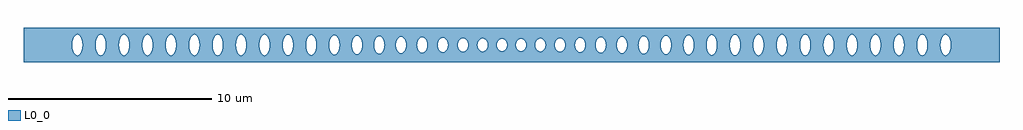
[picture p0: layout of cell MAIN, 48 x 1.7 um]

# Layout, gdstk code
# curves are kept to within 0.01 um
import gdstk
lib = gdstk.Library(unit=1e-6, precision=1e-09)
def P(c, l, *ps):  # polygons
    for p in ps: c.add(gdstk.Polygon(p, *l))
L0_0 = (0, 0)

main = lib.new_cell('MAIN')
P(main, L0_0, [(-21.442,-0.487),(-21.509,-0.413),(-21.564,-0.296),(-21.564,-0.85),(-21.442,-0.85)],
  [(-21.436,0.492),(-21.368,0.52),(-21.289,0.505),(-21.221,0.449),(-21.156,0.337),(-21.156,0.85),(-21.442,0.85)],
  [(-21.156,-0.337),(-21.221,-0.449),(-21.289,-0.505),(-21.368,-0.52),(-21.442,-0.487),(-21.442,-0.85),(-21.156,-0.85)],
  [(24,0.85),(21.564,0.85),(21.564,0.296),(21.609,0.039),(21.602,-0.127),(21.564,-0.296),(21.564,-0.85),(24,-0.85)],
  [(-20.425,0.258),(-20.38,0.375),(-20.312,0.47),(-20.233,0.517),(-20.16,0.514),(-20.16,0.85),(-20.426,0.85)],
  [(-20.16,-0.514),(-20.233,-0.517),(-20.312,-0.47),(-20.38,-0.375),(-20.426,-0.253),(-20.426,-0.85),(-20.16,-0.85)],
  [(-19.948,0.85),(-20.16,0.85),(-20.16,0.514),(-20.09,0.47),(-20.027,0.384),(-19.979,0.264),(-19.948,0.096)],
  [(-19.948,-0.096),(-19.979,-0.264),(-20.027,-0.384),(-20.09,-0.47),(-20.16,-0.514),(-20.16,-0.85),(-19.948,-0.85)],
  [(-20.459,0.006),(-20.426,0.253),(-20.426,0.85),(-21.156,0.85),(-21.156,0.337),(-21.114,0.201),(-21.095,0)],
  [(-19.178,0.452),(-19.107,0.508),(-19.034,0.52),(-18.954,0.483),(-18.888,0.405),(-18.888,0.85),(-19.184,0.85)],
  [(-18.888,-0.405),(-18.954,-0.483),(-19.034,-0.52),(-19.107,-0.508),(-19.184,-0.445),(-19.184,-0.85),(-18.888,-0.85)],
  [(-19.308,0.006),(-19.271,0.269),(-19.184,0.445),(-19.184,0.85),(-19.948,0.85),(-19.944,0)],
  [(-18.143,0.171),(-18.106,0.312),(-18.054,0.417),(-17.987,0.49),(-17.906,0.52),(-17.906,0.85),(-18.144,0.85)],
  [(-17.906,-0.52),(-17.987,-0.49),(-18.054,-0.417),(-18.106,-0.312),(-18.144,-0.165),(-18.144,-0.85),(-17.906,-0.85)],
  [(-17.9,0.521),(-17.827,0.5),(-17.75,0.424),(-17.697,0.322),(-17.66,0.189),(-17.66,0.85),(-17.906,0.85)],
  [(-17.66,-0.189),(-17.697,-0.322),(-17.758,-0.435),(-17.827,-0.5),(-17.906,-0.52),(-17.906,-0.85),(-17.66,-0.85)],
  [(-18.157,0.006),(-18.144,0.165),(-18.144,0.85),(-18.888,0.85),(-18.888,0.405),(-18.819,0.23),(-18.793,0)],
  [(-16.92,0.388),(-16.86,0.47),(-16.781,0.517),(-16.701,0.512),(-16.629,0.461),(-16.629,0.85),(-16.923,0.85)],
  [(-16.629,-0.461),(-16.701,-0.512),(-16.781,-0.517),(-16.86,-0.47),(-16.923,-0.384),(-16.923,-0.85),(-16.629,-0.85)],
  [(-17.006,0.006),(-16.988,0.195),(-16.923,0.384),(-16.923,0.85),(-17.66,0.85),(-17.66,0.189),(-17.642,0)],
  [(-15.853,0.071),(-15.836,0.201),(-15.788,0.352),(-15.729,0.449),(-15.655,0.508),(-15.655,0.85),(-15.853,0.85)],
  [(-15.655,-0.508),(-15.729,-0.449),(-15.788,-0.352),(-15.836,-0.201),(-15.853,-0.064),(-15.853,-0.85),(-15.655,-0.85)],
  [(-15.649,0.51),(-15.566,0.517),(-15.496,0.478),(-15.426,0.388),(-15.381,0.28),(-15.381,0.85),(-15.655,0.85)],
  [(-15.381,-0.28),(-15.436,-0.405),(-15.502,-0.483),(-15.582,-0.52),(-15.655,-0.508),(-15.655,-0.85),(-15.381,-0.85)],
  [(-15.855,0.006),(-15.853,0.85),(-16.629,0.85),(-16.629,0.461),(-16.57,0.375),(-16.53,0.275),(-16.498,0.121),(-16.491,0)],
  [(-14.651,0.317),(-14.602,0.417),(-14.523,0.498),(-14.447,0.521),(-14.372,0.498),(-14.372,0.85),(-14.653,0.85)],
  [(-14.372,-0.498),(-14.447,-0.521),(-14.523,-0.498),(-14.602,-0.417),(-14.653,-0.312),(-14.653,-0.85),(-14.372,-0.85)],
  [(-14.19,0.85),(-14.372,0.85),(-14.372,0.498),(-14.29,0.413),(-14.237,0.302),(-14.207,0.189),(-14.19,0.026)],
  [(-14.19,-0.026),(-14.207,-0.189),(-14.237,-0.302),(-14.29,-0.413),(-14.372,-0.498),(-14.372,-0.85),(-14.19,-0.85)],
  [(-14.705,0.006),(-14.685,0.201),(-14.653,0.312),(-14.653,0.85),(-15.381,0.85),(-15.381,0.28),(-15.349,0.134),(-15.341,0)],
  [(-13.393,0.483),(-13.312,0.52),(-13.233,0.505),(-13.16,0.442),(-13.109,0.356),(-13.109,0.85),(-13.399,0.85)],
  [(-13.109,-0.356),(-13.171,-0.455),(-13.249,-0.512),(-13.328,-0.517),(-13.399,-0.478),(-13.399,-0.85),(-13.109,-0.85)],
  [(-13.554,0.006),(-13.543,0.152),(-13.512,0.286),(-13.461,0.401),(-13.399,0.478),(-13.399,0.85),(-14.19,0.85),(-14.19,0)],
  [(-12.377,0.23),(-12.329,0.366),(-12.271,0.455),(-12.193,0.512),(-12.12,0.518),(-12.12,0.85),(-12.378,0.85)],
  [(-12.12,-0.518),(-12.193,-0.512),(-12.271,-0.455),(-12.329,-0.366),(-12.378,-0.224),(-12.378,-0.85),(-12.12,-0.85)],
  [(-11.896,0.85),(-12.12,0.85),(-12.12,0.518),(-12.043,0.478),(-11.981,0.401),(-11.93,0.286),(-11.896,0.127)],
  [(-11.896,-0.127),(-11.93,-0.286),(-11.981,-0.401),(-12.043,-0.478),(-12.12,-0.518),(-12.12,-0.85),(-11.896,-0.85)],
  [(-12.403,0.006),(-12.378,0.224),(-12.378,0.85),(-13.109,0.85),(-13.109,0.356),(-13.055,0.183),(-13.039,0)],
  [(-11.135,0.433),(-11.06,0.5),(-10.98,0.516),(-10.909,0.487),(-10.844,0.418),(-10.844,0.85),(-11.141,0.85)],
  [(-10.844,-0.418),(-10.909,-0.487),(-10.98,-0.516),(-11.069,-0.495),(-11.141,-0.426),(-11.141,-0.85),(-10.844,-0.85)],
  [(-11.252,0.006),(-11.22,0.252),(-11.141,0.426),(-11.141,0.85),(-11.896,0.85),(-11.888,0)],
  [(-10.095,0.144),(-10.057,0.297),(-10,0.409),(-9.943,0.47),(-9.861,0.504),(-9.861,0.85),(-10.096,0.85)],
  [(-9.861,-0.504),(-9.943,-0.47),(-10,-0.409),(-10.057,-0.297),(-10.096,-0.138),(-10.096,-0.85),(-9.861,-0.85)],
  [(-9.855,0.505),(-9.781,0.488),(-9.705,0.42),(-9.654,0.332),(-9.609,0.186),(-9.609,0.85),(-9.861,0.85)],
  [(-9.609,-0.186),(-9.654,-0.332),(-9.705,-0.42),(-9.781,-0.488),(-9.861,-0.504),(-9.861,-0.85),(-9.609,-0.85)],
  [(-10.106,0.006),(-10.096,0.85),(-10.844,0.85),(-10.844,0.418),(-10.764,0.229),(-10.737,0)],
  [(-8.877,0.376),(-8.81,0.453),(-8.733,0.487),(-8.645,0.471),(-8.576,0.413),(-8.576,0.85),(-8.88,0.85)],
  [(-8.576,-0.413),(-8.645,-0.471),(-8.733,-0.487),(-8.81,-0.453),(-8.88,-0.372),(-8.88,-0.85),(-8.576,-0.85)],
  [(-8.971,0.006),(-8.946,0.211),(-8.88,0.372),(-8.88,0.85),(-9.609,0.85),(-9.609,0.186),(-9.591,0)],
  [(-7.847,0.112),(-7.816,0.246),(-7.758,0.364),(-7.694,0.432),(-7.609,0.466),(-7.609,0.85),(-7.847,0.85)],
  [(-7.609,-0.466),(-7.694,-0.432),(-7.766,-0.352),(-7.816,-0.246),(-7.847,-0.106),(-7.847,-0.85),(-7.609,-0.85)],
  [(-7.603,0.466),(-7.526,0.449),(-7.456,0.391),(-7.392,0.284),(-7.353,0.15),(-7.353,0.85),(-7.609,0.85)],
  [(-7.353,-0.15),(-7.392,-0.284),(-7.456,-0.391),(-7.526,-0.449),(-7.609,-0.466),(-7.609,-0.85),(-7.353,-0.85)],
  [(-7.854,0.003),(-7.847,0.85),(-8.576,0.85),(-8.576,0.413),(-8.521,0.325),(-8.487,0.233),(-8.456,0)],
  [(-6.64,0.374),(-6.561,0.431),(-6.488,0.442),(-6.401,0.407),(-6.329,0.327),(-6.329,0.85),(-6.646,0.85)],
  [(-6.329,-0.327),(-6.401,-0.407),(-6.488,-0.442),(-6.574,-0.425),(-6.646,-0.367),(-6.646,-0.85),(-6.329,-0.85)],
  [(-6.76,0.006),(-6.729,0.211),(-6.646,0.367),(-6.646,0.85),(-7.353,0.85),(-7.353,0.15),(-7.339,0)],
  [(-5.658,0.204),(-5.602,0.315),(-5.526,0.389),(-5.449,0.416),(-5.358,0.398),(-5.358,0.85),(-5.659,0.85)],
  [(-5.358,-0.398),(-5.449,-0.416),(-5.526,-0.389),(-5.602,-0.315),(-5.659,-0.199),(-5.659,-0.85),(-5.358,-0.85)],
  [(-5.691,0.006),(-5.659,0.199),(-5.659,0.85),(-6.329,0.85),(-6.329,0.327),(-6.268,0.184),(-6.245,0)],
  [(-4.647,0.039),(-4.624,0.167),(-4.568,0.284),(-4.495,0.358),(-4.409,0.39),(-4.409,0.85),(-4.648,0.85)],
  [(-4.409,-0.39),(-4.495,-0.358),(-4.568,-0.284),(-4.624,-0.167),(-4.648,-0.033),(-4.648,-0.85),(-4.409,-0.85)],
  [(-4.402,0.39),(-4.308,0.37),(-4.237,0.313),(-4.183,0.23),(-4.14,0.088),(-4.14,0.85),(-4.409,0.85)],
  [(-4.14,-0.088),(-4.183,-0.23),(-4.237,-0.313),(-4.319,-0.375),(-4.409,-0.39),(-4.409,-0.85),(-4.14,-0.85)],
  [(-4.648,0.006),(-4.648,0.85),(-5.358,0.85),(-5.358,0.398),(-5.293,0.35),(-5.226,0.248),(-5.192,0.147),(-5.176,0)],
  [(-3.463,0.345),(-3.389,0.366),(-3.288,0.345),(-3.204,0.273),(-3.148,0.171),(-3.148,0.85),(-3.47,0.85)],
  [(-3.148,-0.171),(-3.204,-0.273),(-3.288,-0.345),(-3.389,-0.366),(-3.47,-0.341),(-3.47,-0.85),(-3.148,-0.85)],
  [(-3.633,0.005),(-3.619,0.122),(-3.59,0.204),(-3.536,0.287),(-3.47,0.341),(-3.47,0.85),(-4.14,0.85),(-4.134,0)],
  [(-2.521,0.293),(-2.435,0.339),(-2.341,0.34),(-2.257,0.299),(-2.181,0.209),(-2.181,0.85),(-2.528,0.85)],
  [(-2.181,-0.209),(-2.257,-0.299),(-2.341,-0.34),(-2.435,-0.339),(-2.528,-0.288),(-2.528,-0.85),(-2.181,-0.85)],
  [(-2.643,0.005),(-2.612,0.166),(-2.528,0.288),(-2.528,0.85),(-3.148,0.85),(-3.148,0.171),(-3.118,0)],
  [(-1.582,0.253),(-1.491,0.315),(-1.399,0.327),(-1.314,0.3),(-1.23,0.223),(-1.23,0.85),(-1.588,0.85)],
  [(-1.23,-0.223),(-1.314,-0.3),(-1.411,-0.328),(-1.514,-0.305),(-1.588,-0.246),(-1.588,-0.85),(-1.23,-0.85)],
  [(-1.676,0.003),(-1.653,0.136),(-1.588,0.246),(-1.588,0.85),(-2.181,0.85),(-2.181,0.209),(-2.14,0.103),(-2.129,0)],
  [(-0.644,0.232),(-0.561,0.296),(-0.453,0.316),(-0.358,0.286),(-0.285,0.222),(-0.285,0.85),(-0.649,0.85)],
  [(-0.285,-0.222),(-0.358,-0.286),(-0.453,-0.316),(-0.561,-0.296),(-0.649,-0.225),(-0.649,-0.85),(-0.285,-0.85)],
  [(-0.726,0.005),(-0.705,0.127),(-0.649,0.225),(-0.649,0.85),(-1.23,0.85),(-1.23,0.223),(-1.18,0.125),(-1.161,0)],
  [(0.288,0.225),(0.358,0.286),(0.453,0.316),(0.561,0.296),(0.649,0.225),(0.649,0.85),(0.285,0.85)],
  [(0.649,-0.225),(0.561,-0.296),(0.453,-0.316),(0.358,-0.286),(0.285,-0.222),(0.285,-0.85),(0.649,-0.85)],
  [(0.212,0.005),(0.231,0.122),(0.285,0.222),(0.285,0.85),(-0.285,0.85),(-0.285,0.222),(-0.228,0.113),(-0.212,0)],
  [(1.231,0.225),(1.312,0.299),(1.409,0.328),(1.512,0.306),(1.584,0.251),(1.584,0.85),(1.229,0.85)],
  [(1.584,-0.251),(1.493,-0.314),(1.397,-0.327),(1.312,-0.299),(1.229,-0.221),(1.229,-0.85),(1.584,-0.85)],
  [(1.161,0.003),(1.175,0.108),(1.229,0.221),(1.229,0.85),(0.649,0.85),(0.649,0.225),(0.705,0.127),(0.726,0)],
  [(2.181,0.209),(2.257,0.299),(2.341,0.34),(2.435,0.339),(2.525,0.29),(2.525,0.85),(2.179,0.85)],
  [(2.525,-0.29),(2.435,-0.339),(2.341,-0.34),(2.257,-0.299),(2.179,-0.205),(2.179,-0.85),(2.525,-0.85)],
  [(2.129,0.005),(2.14,0.103),(2.179,0.205),(2.179,0.85),(1.584,0.85),(1.584,0.251),(1.652,0.139),(1.676,0)],
  [(3.148,0.171),(3.204,0.273),(3.288,0.345),(3.389,0.366),(3.467,0.343),(3.467,0.85),(3.147,0.85)],
  [(3.467,-0.343),(3.389,-0.366),(3.288,-0.345),(3.204,-0.273),(3.147,-0.167),(3.147,-0.85),(3.467,-0.85)],
  [(3.118,0.005),(3.147,0.167),(3.147,0.85),(2.525,0.85),(2.525,0.29),(2.612,0.166),(2.643,0)],
  [(4.141,0.094),(4.183,0.23),(4.237,0.313),(4.319,0.375),(4.409,0.39),(4.409,0.85),(4.14,0.85)],
  [(4.409,-0.39),(4.319,-0.375),(4.237,-0.313),(4.183,-0.23),(4.14,-0.088),(4.14,-0.85),(4.409,-0.85)],
  [(4.648,0.85),(4.409,0.85),(4.409,0.39),(4.495,0.358),(4.568,0.284),(4.624,0.167),(4.648,0.033)],
  [(4.648,-0.033),(4.624,-0.167),(4.568,-0.284),(4.495,-0.358),(4.409,-0.39),(4.409,-0.85),(4.648,-0.85)],
  [(4.134,0.006),(4.14,0.85),(3.467,0.85),(3.467,0.343),(3.536,0.287),(3.59,0.204),(3.619,0.122),(3.633,0)],
  [(5.365,0.401),(5.449,0.416),(5.529,0.387),(5.602,0.315),(5.659,0.199),(5.659,0.85),(5.358,0.85)],
  [(5.659,-0.199),(5.602,-0.315),(5.526,-0.389),(5.449,-0.416),(5.358,-0.398),(5.358,-0.85),(5.659,-0.85)],
  [(5.176,0.006),(5.192,0.147),(5.226,0.248),(5.293,0.35),(5.358,0.398),(5.358,0.85),(4.648,0.85),(4.648,0)],
  [(6.329,0.327),(6.401,0.407),(6.488,0.442),(6.561,0.431),(6.643,0.371),(6.643,0.85),(6.327,0.85)],
  [(6.643,-0.371),(6.561,-0.431),(6.488,-0.442),(6.401,-0.407),(6.327,-0.323),(6.327,-0.85),(6.643,-0.85)],
  [(6.245,0.006),(6.268,0.184),(6.327,0.323),(6.327,0.85),(5.659,0.85),(5.659,0.199),(5.691,0)],
  [(7.352,0.147),(7.395,0.291),(7.446,0.379),(7.521,0.446),(7.604,0.466),(7.604,0.85),(7.351,0.85)],
  [(7.604,-0.466),(7.521,-0.446),(7.446,-0.379),(7.385,-0.266),(7.351,-0.141),(7.351,-0.85),(7.604,-0.85)],
  [(7.846,0.85),(7.604,0.85),(7.604,0.466),(7.69,0.435),(7.757,0.366),(7.813,0.254),(7.846,0.115)],
  [(7.846,-0.115),(7.813,-0.254),(7.757,-0.366),(7.69,-0.435),(7.604,-0.466),(7.604,-0.85),(7.846,-0.85)],
  [(7.339,0.003),(7.351,0.141),(7.351,0.85),(6.643,0.85),(6.643,0.371),(6.729,0.211),(6.76,0)],
  [(8.582,0.419),(8.658,0.477),(8.733,0.487),(8.81,0.453),(8.88,0.372),(8.88,0.85),(8.576,0.85)],
  [(8.88,-0.372),(8.81,-0.453),(8.733,-0.487),(8.645,-0.471),(8.576,-0.413),(8.576,-0.85),(8.88,-0.85)],
  [(8.456,0.006),(8.487,0.233),(8.521,0.325),(8.576,0.413),(8.576,0.85),(7.846,0.85),(7.854,0)],
  [(9.61,0.192),(9.658,0.341),(9.721,0.44),(9.787,0.491),(9.861,0.504),(9.861,0.85),(9.609,0.85)],
  [(9.861,-0.504),(9.781,-0.488),(9.705,-0.42),(9.654,-0.332),(9.609,-0.186),(9.609,-0.85),(9.861,-0.85)],
  [(10.096,0.85),(9.861,0.85),(9.861,0.504),(9.943,0.47),(10,0.409),(10.057,0.297),(10.096,0.138)],
  [(10.096,-0.138),(10.057,-0.297),(10,-0.409),(9.943,-0.47),(9.861,-0.504),(9.861,-0.85),(10.096,-0.85)],
  [(9.591,0.006),(9.609,0.186),(9.609,0.85),(8.88,0.85),(8.88,0.372),(8.946,0.211),(8.971,0)],
  [(10.844,0.418),(10.909,0.487),(10.98,0.516),(11.06,0.5),(11.138,0.429),(11.138,0.85),(10.841,0.85)],
  [(11.138,-0.429),(11.06,-0.5),(10.98,-0.516),(10.909,-0.487),(10.841,-0.414),(10.841,-0.85),(11.138,-0.85)],
  [(10.737,0.006),(10.764,0.229),(10.841,0.414),(10.841,0.85),(10.096,0.85),(10.106,0)],
  [(11.896,0.127),(11.93,0.286),(11.981,0.401),(12.043,0.478),(12.117,0.517),(12.117,0.85),(11.895,0.85)],
  [(12.117,-0.517),(12.043,-0.478),(11.981,-0.401),(11.93,-0.286),(11.895,-0.121),(11.895,-0.85),(12.117,-0.85)],
  [(12.123,0.519),(12.193,0.512),(12.271,0.455),(12.329,0.366),(12.377,0.23),(12.377,0.85),(12.117,0.85)],
  [(12.377,-0.23),(12.329,-0.366),(12.271,-0.455),(12.193,-0.512),(12.117,-0.517),(12.117,-0.85),(12.377,-0.85)],
  [(11.888,0.006),(11.895,0.85),(11.138,0.85),(11.138,0.429),(11.22,0.252),(11.252,0)],
  [(13.111,0.361),(13.171,0.455),(13.249,0.512),(13.328,0.517),(13.399,0.478),(13.399,0.85),(13.109,0.85)],
  [(13.399,-0.478),(13.328,-0.517),(13.249,-0.512),(13.171,-0.455),(13.109,-0.356),(13.109,-0.85),(13.399,-0.85)],
  [(13.039,0.006),(13.055,0.183),(13.109,0.356),(13.109,0.85),(12.377,0.85),(12.377,0.23),(12.403,0)],
  [(14.19,0.032),(14.207,0.189),(14.237,0.302),(14.29,0.413),(14.372,0.498),(14.372,0.85),(14.19,0.85)],
  [(14.372,-0.498),(14.29,-0.413),(14.237,-0.302),(14.207,-0.189),(14.19,-0.026),(14.19,-0.85),(14.372,-0.85)],
  [(14.378,0.501),(14.463,0.52),(14.535,0.49),(14.602,0.417),(14.653,0.312),(14.653,0.85),(14.372,0.85)],
  [(14.653,-0.312),(14.602,-0.417),(14.523,-0.498),(14.447,-0.521),(14.372,-0.498),(14.372,-0.85),(14.653,-0.85)],
  [(14.19,0.006),(14.19,0.85),(13.399,0.85),(13.399,0.478),(13.461,0.401),(13.512,0.286),(13.543,0.152),(13.554,0)],
  [(15.381,0.28),(15.426,0.388),(15.496,0.478),(15.576,0.519),(15.652,0.509),(15.652,0.85),(15.379,0.85)],
  [(15.652,-0.509),(15.576,-0.519),(15.496,-0.478),(15.426,-0.388),(15.379,-0.275),(15.379,-0.85),(15.652,-0.85)],
  [(15.853,0.85),(15.652,0.85),(15.652,0.509),(15.729,0.449),(15.788,0.352),(15.836,0.201),(15.853,0.071)],
  [(15.853,-0.071),(15.836,-0.201),(15.788,-0.352),(15.729,-0.449),(15.652,-0.509),(15.652,-0.85),(15.853,-0.85)],
  [(15.341,0.006),(15.379,0.275),(15.379,0.85),(14.653,0.85),(14.653,0.312),(14.685,0.201),(14.705,0)],
  [(16.632,0.464),(16.701,0.512),(16.781,0.517),(16.86,0.47),(16.92,0.388),(16.92,0.85),(16.627,0.85)],
  [(16.92,-0.388),(16.86,-0.47),(16.781,-0.517),(16.701,-0.512),(16.627,-0.458),(16.627,-0.85),(16.92,-0.85)],
  [(16.491,0.006),(16.53,0.275),(16.57,0.375),(16.627,0.458),(16.627,0.85),(15.853,0.85),(15.855,0)],
  [(17.661,0.195),(17.701,0.332),(17.758,0.435),(17.827,0.5),(17.906,0.52),(17.906,0.85),(17.66,0.85)],
  [(17.906,-0.52),(17.827,-0.5),(17.758,-0.435),(17.697,-0.322),(17.66,-0.189),(17.66,-0.85),(17.906,-0.85)],
  [(18.144,0.85),(17.906,0.85),(17.906,0.52),(17.987,0.49),(18.054,0.417),(18.106,0.312),(18.144,0.165)],
  [(18.144,-0.165),(18.106,-0.312),(18.054,-0.417),(17.987,-0.49),(17.906,-0.52),(17.906,-0.85),(18.144,-0.85)],
  [(17.642,0.006),(17.66,0.189),(17.66,0.85),(16.92,0.85),(16.92,0.388),(16.988,0.195),(17.006,0)],
  [(18.891,0.409),(18.963,0.49),(19.034,0.52),(19.107,0.508),(19.184,0.445),(19.184,0.85),(18.888,0.85)],
  [(19.184,-0.445),(19.123,-0.5),(19.034,-0.52),(18.954,-0.483),(18.888,-0.405),(18.888,-0.85),(19.184,-0.85)],
  [(18.793,0.006),(18.819,0.23),(18.888,0.405),(18.888,0.85),(18.144,0.85),(18.144,0.165),(18.157,0)],
  [(19.948,0.096),(19.979,0.264),(20.027,0.384),(20.09,0.47),(20.157,0.513),(20.157,0.85),(19.948,0.85)],
  [(20.157,-0.513),(20.073,-0.452),(20.011,-0.352),(19.97,-0.23),(19.948,-0.09),(19.948,-0.85),(20.157,-0.85)],
  [(20.163,0.515),(20.233,0.517),(20.312,0.47),(20.38,0.375),(20.425,0.258),(20.425,0.85),(20.157,0.85)],
  [(20.425,-0.258),(20.38,-0.375),(20.312,-0.47),(20.233,-0.517),(20.157,-0.513),(20.157,-0.85),(20.425,-0.85)],
  [(19.944,0.006),(19.948,0.85),(19.184,0.85),(19.184,0.445),(19.271,0.269),(19.308,0)],
  [(21.156,0.337),(21.221,0.449),(21.289,0.505),(21.368,0.52),(21.439,0.49),(21.439,0.85),(21.154,0.85)],
  [(21.439,-0.49),(21.368,-0.52),(21.289,-0.505),(21.221,-0.449),(21.154,-0.332),(21.154,-0.85),(21.439,-0.85)],
  [(-21.564,-0.296),(-21.609,-0.039),(-21.602,0.127),(-21.564,0.296),(-21.564,0.85),(-24,0.85),(-24,-0.85),(-21.564,-0.85)],
  [(-21.562,0.302),(-21.509,0.413),(-21.442,0.487),(-21.442,0.85),(-21.564,0.85)],
  [(21.564,0.85),(21.439,0.85),(21.439,0.49),(21.509,0.413),(21.564,0.296)],
  [(21.564,-0.296),(21.509,-0.413),(21.439,-0.49),(21.439,-0.85),(21.564,-0.85)],
  [(-20.426,-0.253),(-20.459,0),(-21.095,0),(-21.114,-0.201),(-21.156,-0.337),(-21.156,-0.85),(-20.426,-0.85)],
  [(-19.184,-0.445),(-19.271,-0.269),(-19.308,0),(-19.944,0),(-19.948,-0.85),(-19.184,-0.85)],
  [(-18.144,-0.165),(-18.157,0),(-18.793,0),(-18.819,-0.23),(-18.888,-0.405),(-18.888,-0.85),(-18.144,-0.85)],
  [(-16.923,-0.384),(-16.988,-0.195),(-17.006,0),(-17.642,0),(-17.66,-0.189),(-17.66,-0.85),(-16.923,-0.85)],
  [(-15.853,-0.064),(-15.855,0),(-16.491,0),(-16.498,-0.121),(-16.53,-0.275),(-16.57,-0.375),(-16.629,-0.461),(-16.629,-0.85),(-15.853,-0.85)],
  [(-14.653,-0.312),(-14.685,-0.201),(-14.705,0),(-15.341,0),(-15.348,-0.127),(-15.381,-0.28),(-15.381,-0.85),(-14.653,-0.85)],
  [(-13.399,-0.478),(-13.461,-0.401),(-13.512,-0.286),(-13.543,-0.152),(-13.554,0),(-14.19,0),(-14.19,-0.85),(-13.399,-0.85)],
  [(-12.378,-0.224),(-12.403,0),(-13.039,0),(-13.055,-0.183),(-13.109,-0.356),(-13.109,-0.85),(-12.378,-0.85)],
  [(-11.141,-0.426),(-11.226,-0.229),(-11.252,0),(-11.888,0),(-11.896,-0.85),(-11.141,-0.85)],
  [(-10.096,-0.138),(-10.106,0),(-10.737,0),(-10.764,-0.229),(-10.844,-0.418),(-10.844,-0.85),(-10.096,-0.85)],
  [(-8.88,-0.372),(-8.946,-0.211),(-8.971,0),(-9.591,0),(-9.609,-0.186),(-9.609,-0.85),(-8.88,-0.85)],
  [(-7.847,-0.106),(-7.854,0),(-8.456,0),(-8.487,-0.233),(-8.521,-0.325),(-8.576,-0.413),(-8.576,-0.85),(-7.847,-0.85)],
  [(-6.646,-0.367),(-6.729,-0.211),(-6.76,0),(-7.339,0),(-7.353,-0.15),(-7.353,-0.85),(-6.646,-0.85)],
  [(-5.659,-0.199),(-5.691,0),(-6.245,0),(-6.268,-0.184),(-6.329,-0.327),(-6.329,-0.85),(-5.659,-0.85)],
  [(-4.648,-0.033),(-4.648,0),(-5.176,0),(-5.192,-0.147),(-5.226,-0.248),(-5.293,-0.35),(-5.358,-0.398),(-5.358,-0.85),(-4.648,-0.85)],
  [(-3.47,-0.341),(-3.536,-0.287),(-3.59,-0.204),(-3.619,-0.122),(-3.633,0),(-4.134,0),(-4.14,-0.85),(-3.47,-0.85)],
  [(-2.528,-0.288),(-2.614,-0.161),(-2.643,0),(-3.118,0),(-3.148,-0.171),(-3.148,-0.85),(-2.528,-0.85)],
  [(-1.588,-0.246),(-1.653,-0.136),(-1.676,0),(-2.129,0),(-2.14,-0.103),(-2.181,-0.209),(-2.181,-0.85),(-1.588,-0.85)],
  [(-0.649,-0.225),(-0.705,-0.127),(-0.726,0),(-1.161,0),(-1.18,-0.125),(-1.23,-0.223),(-1.23,-0.85),(-0.649,-0.85)],
  [(0.285,-0.222),(0.228,-0.113),(0.212,0),(-0.212,0),(-0.228,-0.113),(-0.285,-0.222),(-0.285,-0.85),(0.285,-0.85)],
  [(1.229,-0.221),(1.175,-0.108),(1.161,0),(0.726,0),(0.705,-0.127),(0.649,-0.225),(0.649,-0.85),(1.229,-0.85)],
  [(2.179,-0.205),(2.14,-0.103),(2.129,0),(1.676,0),(1.652,-0.139),(1.584,-0.251),(1.584,-0.85),(2.179,-0.85)],
  [(3.147,-0.167),(3.118,0),(2.643,0),(2.612,-0.166),(2.525,-0.29),(2.525,-0.85),(3.147,-0.85)],
  [(4.14,-0.088),(4.134,0),(3.633,0),(3.619,-0.122),(3.59,-0.204),(3.536,-0.287),(3.467,-0.343),(3.467,-0.85),(4.14,-0.85)],
  [(5.358,-0.398),(5.293,-0.35),(5.226,-0.248),(5.192,-0.147),(5.176,0),(4.648,0),(4.648,-0.85),(5.358,-0.85)],
  [(6.327,-0.323),(6.268,-0.184),(6.245,0),(5.691,0),(5.659,-0.199),(5.659,-0.85),(6.327,-0.85)],
  [(7.351,-0.141),(7.339,0),(6.76,0),(6.729,-0.211),(6.643,-0.371),(6.643,-0.85),(7.351,-0.85)],
  [(8.576,-0.413),(8.521,-0.325),(8.487,-0.233),(8.456,0),(7.854,0),(7.846,-0.85),(8.576,-0.85)],
  [(9.609,-0.186),(9.591,0),(8.971,0),(8.946,-0.211),(8.88,-0.372),(8.88,-0.85),(9.609,-0.85)],
  [(10.841,-0.414),(10.764,-0.229),(10.737,0),(10.106,0),(10.096,-0.85),(10.841,-0.85)],
  [(11.895,-0.121),(11.888,0),(11.252,0),(11.22,-0.252),(11.138,-0.429),(11.138,-0.85),(11.895,-0.85)],
  [(13.109,-0.356),(13.055,-0.183),(13.039,0),(12.403,0),(12.377,-0.23),(12.377,-0.85),(13.109,-0.85)],
  [(14.19,-0.026),(14.19,0),(13.554,0),(13.543,-0.152),(13.512,-0.286),(13.461,-0.401),(13.399,-0.478),(13.399,-0.85),(14.19,-0.85)],
  [(15.379,-0.275),(15.348,-0.127),(15.341,0),(14.705,0),(14.691,-0.165),(14.653,-0.312),(14.653,-0.85),(15.379,-0.85)],
  [(16.627,-0.458),(16.57,-0.375),(16.53,-0.275),(16.498,-0.121),(16.491,0),(15.855,0),(15.853,-0.85),(16.627,-0.85)],
  [(17.66,-0.189),(17.642,0),(17.006,0),(16.988,-0.195),(16.92,-0.388),(16.92,-0.85),(17.66,-0.85)],
  [(18.888,-0.405),(18.819,-0.23),(18.793,0),(18.157,0),(18.144,-0.165),(18.144,-0.85),(18.888,-0.85)],
  [(19.948,-0.09),(19.944,0),(19.308,0),(19.271,-0.269),(19.184,-0.445),(19.184,-0.85),(19.948,-0.85)],
  [(21.154,-0.332),(21.114,-0.201),(21.095,0),(20.459,0),(20.425,-0.258),(20.425,-0.85),(21.154,-0.85)],
  [(21.095,0.006),(21.114,0.201),(21.154,0.332),(21.154,0.85),(20.425,0.85),(20.425,0.258),(20.459,0)])

lib.write_gds('MAIN.gds')
